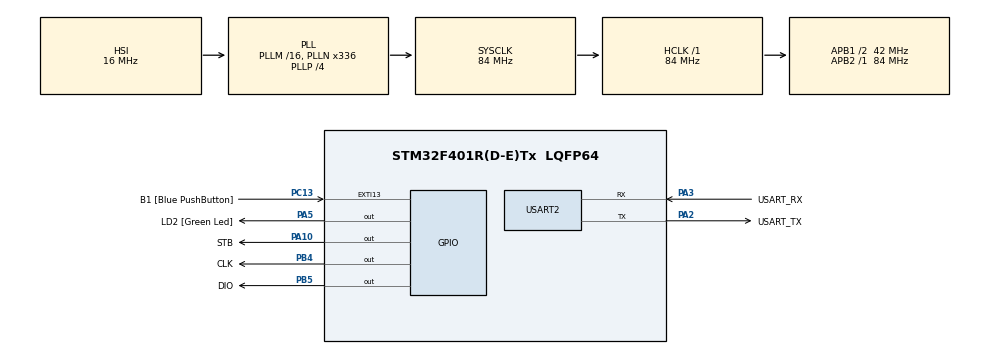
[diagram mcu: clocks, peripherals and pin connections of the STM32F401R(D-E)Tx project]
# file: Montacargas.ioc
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Mcu.Family=STM32F4
Mcu.Name=STM32F401R(D-E)Tx
Mcu.Package=LQFP64
NVIC.PriorityGroup=NVIC_PRIORITYGROUP_4
PA10.GPIO_Label=STB
PA10.Signal=GPIO_Output
PA13.GPIO_Label=TMS
PA13.Mode=Trace_Asynchronous_SW
PA13.Signal=SYS_JTMS-SWDIO
PA14.GPIO_Label=TCK
PA14.Mode=Trace_Asynchronous_SW
PA14.Signal=SYS_JTCK-SWCLK
PA2.GPIO_Label=USART_TX
PA2.GPIO_Mode=GPIO_MODE_AF_PP
PA2.GPIO_PuPd=GPIO_NOPULL
PA2.GPIO_Speed=GPIO_SPEED_FREQ_LOW
PA2.Mode=Asynchronous
PA2.Signal=USART2_TX
PA3.GPIO_Label=USART_RX
PA3.GPIO_Mode=GPIO_MODE_AF_PP
PA3.GPIO_PuPd=GPIO_NOPULL
PA3.GPIO_Speed=GPIO_SPEED_FREQ_LOW
PA3.Mode=Asynchronous
PA3.Signal=USART2_RX
PA5.GPIO_Label=LD2 [Green Led]
PA5.GPIO_Mode=GPIO_MODE_OUTPUT_PP
PA5.GPIO_PuPd=GPIO_NOPULL
PA5.GPIO_Speed=GPIO_SPEED_FREQ_LOW
PA5.Signal=GPIO_Output
PB3.GPIO_Label=SWO
PB3.Mode=Trace_Asynchronous_SW
PB3.Signal=SYS_JTDO-SWO
PB4.GPIO_Label=CLK
PB4.Signal=GPIO_Output
PB5.GPIO_Label=DIO
PB5.Signal=GPIO_Output
PC13-ANTI_TAMP.GPIO_Label=B1 [Blue PushButton]
PC13-ANTI_TAMP.GPIO_ModeDefaultEXTI=GPIO_MODE_IT_FALLING
PC13-ANTI_TAMP.GPIO_PuPd=GPIO_NOPULL
PC13-ANTI_TAMP.Signal=GPXTI13
PC14-OSC32_IN.Mode=LSE-External-Oscillator
PC14-OSC32_IN.Signal=RCC_OSC32_IN
PC15-OSC32_OUT.Mode=LSE-External-Oscillator
PC15-OSC32_OUT.Signal=RCC_OSC32_OUT
PH0\ -\ OSC_IN.Mode=HSE-External-Clock-Source
PH0\ -\ OSC_IN.Signal=RCC_OSC_IN
PH1\ -\ OSC_OUT.Mode=HSE-External-Clock-Source
PH1\ -\ OSC_OUT.Signal=RCC_OSC_OUT
ProjectManager.HeapSize=0x200
ProjectManager.StackSize=0x400
ProjectManager.TargetToolchain=STM32CubeIDE
RCC.48MHZClocksFreq_Value=48000000
RCC.AHBFreq_Value=84000000
RCC.APB1CLKDivider=RCC_HCLK_DIV2
RCC.APB1Freq_Value=42000000
RCC.APB1TimFreq_Value=84000000
RCC.APB2Freq_Value=84000000
RCC.APB2TimFreq_Value=84000000
RCC.CortexFreq_Value=84000000
RCC.HCLKFreq_Value=84000000
RCC.HSE_VALUE=8000000
RCC.HSI_VALUE=16000000
RCC.PLLN=336
RCC.PLLP=RCC_PLLP_DIV4
RCC.PLLQ=7
RCC.SYSCLKFreq_VALUE=84000000
RCC.SYSCLKSource=RCC_SYSCLKSOURCE_PLLCLK
RCC.VCOOutputFreq_Value=336000000
USART2.VirtualMode=VM_ASYNC
board=NUCLEO-F401RE

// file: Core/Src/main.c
/* USER CODE BEGIN Header */
/**
  ******************************************************************************
  * @file           : main.c
  * @brief          : Main program body
  ******************************************************************************
  * @attention
  *
  * Copyright (c) 2026 STMicroelectronics.
  * All rights reserved.
  *
  * This software is licensed under terms that can be found in the LICENSE file
  * in the root directory of this software component.
  * If no LICENSE file comes with this software, it is provided AS-IS.
  *
  ******************************************************************************
  */
/* USER CODE END Header */
#include "main.h"
#include <stdio.h>
/* USER CODE BEGIN Includes */
#include "TM1638.h"
/* USER CODE END Includes */

/* USER CODE BEGIN PTD */
TM1638 TM;
#define TICK_MS 10
/* USER CODE END PTD */

UART_HandleTypeDef huart2;
int llamadaPendiente=-1;

void SystemClock_Config(void);
static void MX_GPIO_Init(void);
static void MX_USART2_UART_Init(void);

/* USER CODE BEGIN 0 */
enum Estado{
	PARADO_P0,
	PARADO_P1,
	SUBIENDO,
	BAJANDO,
	ABRIENDO_PUERTAS,
	ABIERTO,
	CERRANDO_PUERTAS
};
void representacionTexto(int valor[3]){
	char caracteres[9];
	sprintf(caracteres, "%d%d.%02d", valor[2], valor[1], valor[0]);
	tm1638_DisplayTxt(&TM, caracteres);
}
void reducirCronometro(int valor[3]){
	valor[0]--;
	if(valor[0]<0){
		valor[0]=99;
		valor[1]--;
		if(valor[1]<0){
			valor[1]=9;
			valor[2]--;
			if(valor[2]<0){
				valor[0]=0;
				valor[1]=0;
				valor[2]=0;
			}
		}
	}
}
/* USER CODE END 0 */

int main(void)
{

  /* MCU Configuration--------------------------------------------------------*/

  /* Reset of all peripherals, Initializes the Flash interface and the Systick. */
  HAL_Init();

  /* Configure the system clock */
  SystemClock_Config();

  /* Initialize all configured peripherals */
  MX_GPIO_Init();
  MX_USART2_UART_Init();
  /* USER CODE BEGIN 2 */
  //Inicializacion de pines
  TM.clk_port=CLK_GPIO_Port;
  TM.clk_pin=CLK_Pin;
  TM.stb_port=STB_GPIO_Port;
  TM.stb_pin=STB_Pin;
  TM.dio_port=DIO_GPIO_Port;
  TM.dio_pin=DIO_Pin;

  tm1638_TurnOn(&TM, 7);
  tm1638_DisplayClear(&TM);

  int valor[3];
  static uint32_t tCuenta=0;
  tCuenta=HAL_GetTick();

  enum Estado estadoActual=PARADO_P0;
  int pisoActual=-1;
  int teclaAnterior=0;
  /* USER CODE END 2 */

  /* Infinite loop */
  while (1)
  {
	  //Control de las teclas
	  uint8_t teclas=tm1638_ScanButtons(&TM);
	  int teclaPulsada=tm1638_ReadKey(&TM, teclas);
	  if(teclaPulsada!=teclaAnterior && teclaPulsada!=0){
		  if(teclaPulsada==1){ //Pulso boton piso 0
			  pisoActual=0;
			  if(estadoActual==PARADO_P0){
				  estadoActual=ABRIENDO_PUERTAS;
				  valor[0]=0; valor[1]=2; valor[2]=0;
				  tCuenta=HAL_GetTick(); //Reinicia base de tiempo
			  }else if(estadoActual==PARADO_P1){
				  valor[0]=0; valor[1]=0; valor[2]=1;
				  estadoActual=BAJANDO;
				  tCuenta=HAL_GetTick();
			  }else{
				  llamadaPendiente=0;
			  }
		  }else if(teclaPulsada==2){ //Pulso boton piso 1
			  pisoActual=1;
			  if(estadoActual==PARADO_P1){
				  valor[0]=0; valor[1]=2; valor[2]=0;
				  estadoActual=ABRIENDO_PUERTAS;
				  tCuenta=HAL_GetTick();
			  }else if(estadoActual==PARADO_P0){
				  valor[0]=0; valor[1]=0; valor[2]=1;
				  estadoActual=SUBIENDO;
				  tCuenta=HAL_GetTick();
			  }else{
				  llamadaPendiente=1;
			  }
		  }
	  }
	  teclaAnterior=teclaPulsada;

	  //Maquina de estados
	  switch(estadoActual){
	  	  case PARADO_P0:
	  		  tm1638_DisplayTxt(&TM, "PArAdO 0");
	  		  break;
	  	  case PARADO_P1:
	  		  tm1638_DisplayTxt(&TM, "PArAdO 1");
	  		  break;
	  	  case SUBIENDO:
	  		  if(HAL_GetTick()-tCuenta>=TICK_MS){
	  			  //Controla los leds -> se van llenando
	  			  int segsRestantes=(valor[2]*10)+valor[1];
	  			  int ledsEncendidos=8-(segsRestantes*8/10);
	  			  if(ledsEncendidos<0){
	  				  ledsEncendidos=0;
	  			  }else if(ledsEncendidos>8){
	  				  ledsEncendidos=8;
	  			  }
	  			  for(int i=1; i<=8; i++){
	  				  tm1638_Led(&TM, i, i<=ledsEncendidos?1:0);
	  			  }

	  			  representacionTexto(valor);
	  			  reducirCronometro(valor);
	  			  if(valor[0]==0 && valor[1]==0 && valor[2]==0){
	  				valor[0]=0; valor[1]=2; valor[2]=0;
	  				estadoActual=ABRIENDO_PUERTAS;
	  			  }
	  			  tCuenta+=TICK_MS;
	  		  }
	  		  break;
	  	  case BAJANDO:
	  		  if(HAL_GetTick()-tCuenta>=TICK_MS){
	  			  //Controla los leds -> se van vaciando
	  			  int segsRestantes=(valor[2]*10)+valor[1];
	  			  int ledsEncendidos=(segsRestantes*8/10);
	  			  if(ledsEncendidos<0){
	  				  ledsEncendidos=0;
	  			  }else if(ledsEncendidos>8){
	  				  ledsEncendidos=8;
	  			  }
	  			  for(int i=1; i<=8; i++){
	  				  tm1638_Led(&TM, i, i<=ledsEncendidos?1:0);
	  			  }

	  			  representacionTexto(valor);
	  			  reducirCronometro(valor);
	  			  if(valor[0]==0 && valor[1]==0 && valor[2]==0){
	  				valor[0]=0; valor[1]=2; valor[2]=0;
	  				estadoActual=ABRIENDO_PUERTAS;
	  			  }
	  			  tCuenta+=TICK_MS;
	  		  }
	  		  break;
	  	  case ABRIENDO_PUERTAS:
	  		  //Esto es para apagar los leds
	  		  for(int i=1; i<=8; i++){
	  			  tm1638_Led(&TM, i, 0);
	  		  }
	  		  if(HAL_GetTick()-tCuenta>=TICK_MS){
	  			  tm1638_DisplayTxt(&TM, "ABriEndO");
	  			  reducirCronometro(valor);
	  			  if(valor[0]==0 && valor[1]==0 && valor[2]==0){
	  				  valor[0]=0; valor[1]=5; valor[2]=0;
	  				  estadoActual=ABIERTO;
	  			  }
	  			  tCuenta+=TICK_MS;
	  		  }
	  		  break;
	  	  case CERRANDO_PUERTAS:
	  		  //Esto es para apagar los leds
	  		  for(int i=1; i<=8; i++){
	  			  tm1638_Led(&TM, i, 0);
	  		  }

	  		  if(HAL_GetTick()-tCuenta>=TICK_MS){
	  			  tm1638_DisplayTxt(&TM, "CErrAndO");
	  			  reducirCronometro(valor);
	  			  if(valor[0]==0 && valor[1]==0 && valor[2]==0){
	  				  if(llamadaPendiente!=-1){
	  					  int proximoPiso=llamadaPendiente;
	  					  llamadaPendiente=-1;
	  					  if(proximoPiso==1){
	  						  pisoActual=1;
	  						  valor[0]=0; valor[1]=0; valor[2]=1;
	  						  estadoActual=SUBIENDO;
	  					  }else if(proximoPiso==0){
	  						  pisoActual=0;
	  						  valor[0]=0; valor[1]=0; valor[2]=1;
	  						  estadoActual=BAJANDO;
	  					  }
	  				  }else{
		  				  if(pisoActual==1){
		  					  estadoActual=PARADO_P1;
		  				  }else if(pisoActual==0){
		  					estadoActual=PARADO_P0;
		  				  }
	  				  }
	  			  }
	  			  tCuenta+=TICK_MS;
	  		  }
	  		  break;
	  	  case ABIERTO:
	  		  if(HAL_GetTick()-tCuenta>=TICK_MS){
	  			  representacionTexto(valor);
	  			  reducirCronometro(valor);
	  			  if(valor[0]==0 && valor[1]==0 && valor[2]==0){
	  				  valor[0]=0; valor[1]=2; valor[2]=0;
	  				  estadoActual=CERRANDO_PUERTAS;
	  			  }
	  			  tCuenta+=TICK_MS;
	  		  }
	  		  //Para que los leds parpadeen todos a la vez
	  		  static uint32_t tParpadeo=0; //Con static recuerdan el valor por iteracion
	  		  static int estadoLeds=0;
	  		  if(HAL_GetTick()-tParpadeo>=250){
	  			  estadoLeds=!estadoLeds;
	  			  for(int i=1; i<=8; i++){
	  				  tm1638_Led(&TM, i, estadoLeds);
	  			  }
	  			  tParpadeo+=250;
	  		  }
	  		  break;
	  }
  }
}

void SystemClock_Config(void)
{
  RCC_OscInitTypeDef RCC_OscInitStruct = {0};
  RCC_ClkInitTypeDef RCC_ClkInitStruct = {0};

  /** Configure the main internal regulator output voltage
  */
  __HAL_RCC_PWR_CLK_ENABLE();
  __HAL_PWR_VOLTAGESCALING_CONFIG(PWR_REGULATOR_VOLTAGE_SCALE2);

  /** Initializes the RCC Oscillators according to the specified parameters
  * in the RCC_OscInitTypeDef structure.
  */
  RCC_OscInitStruct.OscillatorType = RCC_OSCILLATORTYPE_HSI;
  RCC_OscInitStruct.HSIState = RCC_HSI_ON;
  RCC_OscInitStruct.HSICalibrationValue = RCC_HSICALIBRATION_DEFAULT;
  RCC_OscInitStruct.PLL.PLLState = RCC_PLL_ON;
  RCC_OscInitStruct.PLL.PLLSource = RCC_PLLSOURCE_HSI;
  RCC_OscInitStruct.PLL.PLLM = 16;
  RCC_OscInitStruct.PLL.PLLN = 336;
  RCC_OscInitStruct.PLL.PLLP = RCC_PLLP_DIV4;
  RCC_OscInitStruct.PLL.PLLQ = 7;
  if (HAL_RCC_OscConfig(&RCC_OscInitStruct) != HAL_OK)
  {
    Error_Handler();
  }

  /** Initializes the CPU, AHB and APB buses clocks
  */
  RCC_ClkInitStruct.ClockType = RCC_CLOCKTYPE_HCLK|RCC_CLOCKTYPE_SYSCLK
                              |RCC_CLOCKTYPE_PCLK1|RCC_CLOCKTYPE_PCLK2;
  RCC_ClkInitStruct.SYSCLKSource = RCC_SYSCLKSOURCE_PLLCLK;
  RCC_ClkInitStruct.AHBCLKDivider = RCC_SYSCLK_DIV1;
  RCC_ClkInitStruct.APB1CLKDivider = RCC_HCLK_DIV2;
  RCC_ClkInitStruct.APB2CLKDivider = RCC_HCLK_DIV1;

  if (HAL_RCC_ClockConfig(&RCC_ClkInitStruct, FLASH_LATENCY_2) != HAL_OK)
  {
    Error_Handler();
  }
}

static void MX_USART2_UART_Init(void)
{

  huart2.Instance = USART2;
  huart2.Init.BaudRate = 115200;
  huart2.Init.WordLength = UART_WORDLENGTH_8B;
  huart2.Init.StopBits = UART_STOPBITS_1;
  huart2.Init.Parity = UART_PARITY_NONE;
  huart2.Init.Mode = UART_MODE_TX_RX;
  huart2.Init.HwFlowCtl = UART_HWCONTROL_NONE;
  huart2.Init.OverSampling = UART_OVERSAMPLING_16;
  if (HAL_UART_Init(&huart2) != HAL_OK)
  {
    Error_Handler();
  }

}

static void MX_GPIO_Init(void)
{
  GPIO_InitTypeDef GPIO_InitStruct = {0};

  /* GPIO Ports Clock Enable */
  __HAL_RCC_GPIOC_CLK_ENABLE();
  __HAL_RCC_GPIOH_CLK_ENABLE();
  __HAL_RCC_GPIOA_CLK_ENABLE();
  __HAL_RCC_GPIOB_CLK_ENABLE();

  /*Configure GPIO pin Output Level */
  HAL_GPIO_WritePin(GPIOA, LD2_Pin|STB_Pin, GPIO_PIN_RESET);

  /*Configure GPIO pin Output Level */
  HAL_GPIO_WritePin(GPIOB, CLK_Pin|DIO_Pin, GPIO_PIN_RESET);

  /*Configure GPIO pin : B1_Pin */
  GPIO_InitStruct.Pin = B1_Pin;
  GPIO_InitStruct.Mode = GPIO_MODE_IT_FALLING;
  GPIO_InitStruct.Pull = GPIO_NOPULL;
  HAL_GPIO_Init(B1_GPIO_Port, &GPIO_InitStruct);

  /*Configure GPIO pins : LD2_Pin STB_Pin */
  GPIO_InitStruct.Pin = LD2_Pin|STB_Pin;
  GPIO_InitStruct.Mode = GPIO_MODE_OUTPUT_PP;
  GPIO_InitStruct.Pull = GPIO_NOPULL;
  GPIO_InitStruct.Speed = GPIO_SPEED_FREQ_LOW;
  HAL_GPIO_Init(GPIOA, &GPIO_InitStruct);

  /*Configure GPIO pins : CLK_Pin DIO_Pin */
  GPIO_InitStruct.Pin = CLK_Pin|DIO_Pin;
  GPIO_InitStruct.Mode = GPIO_MODE_OUTPUT_PP;
  GPIO_InitStruct.Pull = GPIO_NOPULL;
  GPIO_InitStruct.Speed = GPIO_SPEED_FREQ_LOW;
  HAL_GPIO_Init(GPIOB, &GPIO_InitStruct);

}

void Error_Handler(void)
{
  __disable_irq();
  while (1)
  {
  }
}
